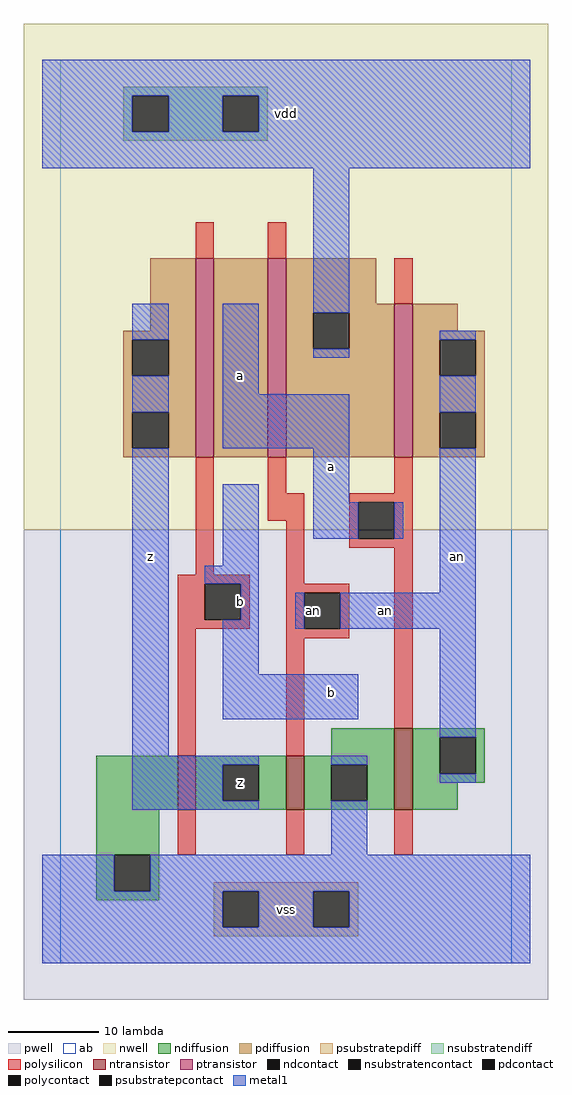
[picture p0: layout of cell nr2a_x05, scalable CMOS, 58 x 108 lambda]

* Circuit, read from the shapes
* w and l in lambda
.subckt nr2a_x05 a an b vdd vss z
M1 z b vss vss nfet w=6 l=2
M2 vss an z vss nfet w=6 l=2
M3 an a vss vss nfet w=9 l=2
M4 n1 b z vdd pfet w=22 l=2
M5 vdd an n1 vdd pfet w=22 l=2
M6 an a vdd vdd pfet w=17 l=2
.ends

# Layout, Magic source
magic
tech scmos
<< ab >>
rect 0 0 50 100
<< pwell >>
rect -4 -4 54 48
<< nwell >>
rect -4 48 54 104
<< polysilicon >>
rect 15 78 17 82
rect 23 78 25 82
rect 37 73 39 78
rect 15 43 17 56
rect 23 52 25 56
rect 37 52 39 56
rect 23 49 27 52
rect 13 42 21 43
rect 13 38 16 42
rect 20 38 21 42
rect 13 37 21 38
rect 25 42 27 49
rect 32 51 39 52
rect 32 47 33 51
rect 37 47 39 51
rect 32 46 39 47
rect 25 41 32 42
rect 25 37 27 41
rect 31 37 32 41
rect 13 23 15 37
rect 25 36 32 37
rect 25 23 27 36
rect 37 26 39 46
rect 13 12 15 17
rect 25 12 27 17
rect 37 12 39 17
<< ndiffusion >>
rect 30 23 37 26
rect 4 17 13 23
rect 15 22 25 23
rect 15 18 18 22
rect 22 18 25 22
rect 15 17 25 18
rect 27 22 37 23
rect 27 18 30 22
rect 34 18 37 22
rect 27 17 37 18
rect 39 25 47 26
rect 39 21 42 25
rect 46 21 47 25
rect 39 20 47 21
rect 39 17 44 20
rect 4 12 11 17
rect 4 8 6 12
rect 10 8 11 12
rect 4 7 11 8
<< pdiffusion >>
rect 10 70 15 78
rect 7 69 15 70
rect 7 65 8 69
rect 12 65 15 69
rect 7 61 15 65
rect 7 57 8 61
rect 12 57 15 61
rect 7 56 15 57
rect 17 56 23 78
rect 25 73 35 78
rect 25 72 37 73
rect 25 68 28 72
rect 32 68 37 72
rect 25 56 37 68
rect 39 70 44 73
rect 39 69 47 70
rect 39 65 42 69
rect 46 65 47 69
rect 39 61 47 65
rect 39 57 42 61
rect 46 57 47 61
rect 39 56 47 57
<< metal1 >>
rect -2 96 52 100
rect -2 92 8 96
rect 12 92 18 96
rect 22 92 52 96
rect -2 88 52 92
rect 8 69 12 73
rect 8 61 12 65
rect 18 63 22 73
rect 28 72 32 88
rect 28 67 32 68
rect 42 69 46 70
rect 18 57 32 63
rect 8 23 12 57
rect 18 44 22 53
rect 28 51 32 57
rect 42 61 46 65
rect 28 47 33 51
rect 37 47 38 51
rect 16 42 22 44
rect 20 38 22 42
rect 42 41 46 57
rect 18 32 22 38
rect 26 37 27 41
rect 31 37 46 41
rect 18 27 33 32
rect 42 25 46 37
rect 8 22 22 23
rect 8 18 18 22
rect 8 17 22 18
rect 30 22 34 23
rect 42 20 46 21
rect 30 12 34 18
rect -2 8 6 12
rect 10 8 52 12
rect -2 4 18 8
rect 22 4 28 8
rect 32 4 52 8
rect -2 0 52 4
<< ntransistor >>
rect 13 17 15 23
rect 25 17 27 23
rect 37 17 39 26
<< ptransistor >>
rect 15 56 17 78
rect 23 56 25 78
rect 37 56 39 73
<< polycontact >>
rect 16 38 20 42
rect 33 47 37 51
rect 27 37 31 41
<< ndcontact >>
rect 18 18 22 22
rect 30 18 34 22
rect 42 21 46 25
rect 6 8 10 12
<< pdcontact >>
rect 8 65 12 69
rect 8 57 12 61
rect 28 68 32 72
rect 42 65 46 69
rect 42 57 46 61
<< psubstratepcontact >>
rect 18 4 22 8
rect 28 4 32 8
<< nsubstratencontact >>
rect 8 92 12 96
rect 18 92 22 96
<< psubstratepdiff >>
rect 17 8 33 9
rect 17 4 18 8
rect 22 4 28 8
rect 32 4 33 8
rect 17 3 33 4
<< nsubstratendiff >>
rect 7 96 23 97
rect 7 92 8 96
rect 12 92 18 96
rect 22 92 23 96
rect 7 91 23 92
<< labels >>
rlabel polycontact 28 39 28 39 6 an
rlabel ndcontact 20 20 20 20 6 z
rlabel metal1 10 45 10 45 6 z
rlabel metal1 20 40 20 40 6 b
rlabel metal1 20 65 20 65 6 a
rlabel metal1 25 6 25 6 6 vss
rlabel metal1 30 30 30 30 6 b
rlabel metal1 30 55 30 55 6 a
rlabel metal1 25 94 25 94 6 vdd
rlabel metal1 36 39 36 39 6 an
rlabel metal1 44 45 44 45 6 an
<< end >>
